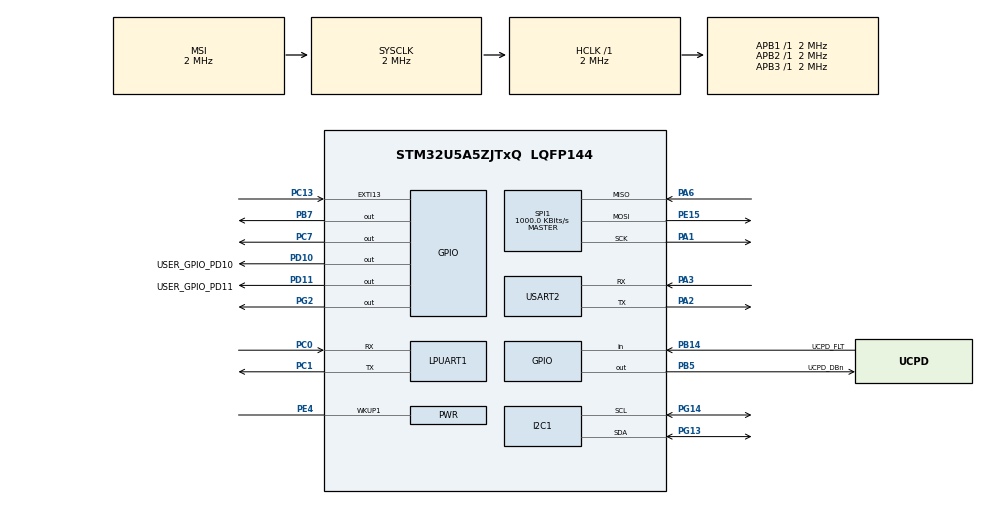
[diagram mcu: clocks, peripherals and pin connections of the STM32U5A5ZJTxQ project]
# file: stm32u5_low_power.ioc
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CORTEX_M33_NS.AccessPermission-Cortex_Memory_Protection_Unit_Region0_Settings=MPU_REGION_PRIV_RO
CORTEX_M33_NS.AllocateAttribute-Cortex_Memory_Protection_Unit_Region0_Settings=MPU_R_ALLOCATE
CORTEX_M33_NS.AllocateAttribute-Cortex_Memory_Protection_Unit_Region1_Settings=MPU_RW_ALLOCATE
CORTEX_M33_NS.AttributesIndex-Cortex_Memory_Protection_Unit_Region1_Settings=MPU_ATTRIBUTES_NUMBER1
CORTEX_M33_NS.BaseAddress-Cortex_Memory_Protection_Unit_Region0_Settings=0x08000000
CORTEX_M33_NS.BaseAddress-Cortex_Memory_Protection_Unit_Region1_Settings=0x20000000
CORTEX_M33_NS.CacheableAttribute-Cortex_Memory_Protection_Unit_Region1_Settings=MPU_WRITE_BACK
CORTEX_M33_NS.Enable-Cortex_Memory_Protection_Unit_Region0_Settings=MPU_REGION_ENABLE
CORTEX_M33_NS.Enable-Cortex_Memory_Protection_Unit_Region1_Settings=MPU_REGION_ENABLE
CORTEX_M33_NS.LimitAddress-Cortex_Memory_Protection_Unit_Region0_Settings=0x083FFFFF
CORTEX_M33_NS.LimitAddress-Cortex_Memory_Protection_Unit_Region1_Settings=0x2026FFFF
CORTEX_M33_NS.MPU_Control=__NULL
CORTEX_M33_NS.Number-Cortex_Memory_Protection_Unit_Region1_Settings=MPU_REGION_NUMBER1
CORTEX_M33_NS.userName=CORTEX_M33
FLASH.B1_BLOCK_active=true
FLASH.B1_endPage=511
FLASH.OB_BOR_Level_active=true
FLASH.OB_Boot_Configuration_active_NS0=true
FLASH.OB_NRST_STOP_UI=OB_STOP_NOUPD
FLASH.OB_NSBOOTADD0_Address=0x08000000
FLASH.OB_User_Configuration_active=false
GTZC.MPCBB1_Area_Privilege=GTZC_MPCBB_REGION_NPRIV
GTZC.MPCBB1_Area_Privilege_Choice=from full Privileged
GTZC.MPCBB1_SecConfig_array=00000000\:00000000\:00000000\:00000000\:00000000\:00000000\:00000000\:00000000\:00000000\:00000000\:00000000\:00000000\:00000000\:00000000\:00000000\:00000000\:00000000\:00000000\:00000000\:00000000\:00000000\:00000000\:00000000\:00000000\:00000000\:00000000\:00000000\:00000000\:00000000\:00000000\:00000000\:00000000\:00000000\:00000000\:00000000\:00000000\:00000000\:00000000\:00000000\:00000000\:00000000\:00000000\:00000000\:00000000\:00000000\:00000000\:00000000\:00000000
GTZC.MPCBB2_Area2_Privilege_Start_Address=0x200C0000
GTZC.MPCBB2_Area_Privilege=GTZC_MPCBB_REGION_NPRIV
GTZC.MPCBB2_Area_Privilege_Choice=from full Privileged
GTZC.MPCBB2_Area_Privilege_Start_Address=0x200C0000
GTZC.MPCBB2_SecConfig_array=00000000\:00000000\:00000000\:00000000\:00000000\:00000000\:00000000\:00000000\:00000000\:00000000\:00000000\:00000000\:00000000\:00000000\:00000000\:00000000\:00000000\:00000000\:00000000\:00000000\:00000000\:00000000\:00000000\:00000000\:00000000\:00000000\:00000000\:00000000\:00000000\:00000000\:00000000\:00000000\:00000000\:00000000\:00000000\:00000000\:00000000\:00000000\:00000000\:00000000\:00000000\:00000000\:00000000\:00000000\:00000000\:00000000\:00000000\:00000000\:00000000\:00000000\:00000000\:00000000
GTZC.MPCBB3_Area2_Privilege_Start_Address=0x200D0000
GTZC.MPCBB3_Area_Privilege=GTZC_MPCBB_REGION_NPRIV
GTZC.MPCBB3_Area_Privilege_Choice=from full Privileged
GTZC.MPCBB3_Area_Privilege_Start_Address=0x200D0000
GTZC.MPCBB3_SecConfig_array=00000000\:00000000\:00000000\:00000000\:00000000\:00000000\:00000000\:00000000\:00000000\:00000000\:00000000\:00000000\:00000000\:00000000\:00000000\:00000000\:00000000\:00000000\:00000000\:00000000\:00000000\:00000000\:00000000\:00000000\:00000000\:00000000\:00000000\:00000000\:00000000\:00000000\:00000000\:00000000\:00000000\:00000000\:00000000\:00000000\:00000000\:00000000\:00000000\:00000000\:00000000\:00000000\:00000000\:00000000\:00000000\:00000000\:00000000\:00000000\:00000000\:00000000\:00000000\:00000000
GTZC.MPCBB4_PrivConfig_array=00000000
GTZC.MPCBB4_SecConfig_array=00000000
GTZC.MPCBB5_Area2_Privilege_Start_Address=0x201A0000
GTZC.MPCBB5_Area_Privilege=GTZC_MPCBB_REGION_NPRIV
GTZC.MPCBB5_Area_Privilege_Choice=from full Privileged
GTZC.MPCBB5_Area_Privilege_Start_Address=0x201A0000
GTZC.MPCBB5_SecConfig_array=00000000\:00000000\:00000000\:00000000\:00000000\:00000000\:00000000\:00000000\:00000000\:00000000\:00000000\:00000000\:00000000\:00000000\:00000000\:00000000\:00000000\:00000000\:00000000\:00000000\:00000000\:00000000\:00000000\:00000000\:00000000\:00000000\:00000000\:00000000\:00000000\:00000000\:00000000\:00000000\:00000000\:00000000\:00000000\:00000000\:00000000\:00000000\:00000000\:00000000\:00000000\:00000000\:00000000\:00000000\:00000000\:00000000\:00000000\:00000000\:00000000\:00000000\:00000000\:00000000
HASH.SecureHashAlgorithmType=SHA256
HASH.pKey=__NULL
I2C1.Timing=0x00000509
LPTIM2.ClockPrescaler=LPTIM_PRESCALER_DIV1
LPTIM2.UpdateMode=LPTIM_UPDATE_ENDOFPERIOD
LPTIM3.ClockPrescaler=LPTIM_PRESCALER_DIV4
Mcu.Family=STM32U5
Mcu.Name=STM32U5A5ZJTxQ
Mcu.Package=LQFP144
NUCLEO-U5A5ZJ-Q.BUTTON=1
NUCLEO-U5A5ZJ-Q.Bsp_Common_DEMO=true
NUCLEO-U5A5ZJ-Q.LD1=true
NUCLEO-U5A5ZJ-Q.LD2=true
NUCLEO-U5A5ZJ-Q.LD3=true
NUCLEO-U5A5ZJ-Q.VCP=true
NVIC.AES_IRQn=true\:0\:0\:false\:false\:true\:true\:true\:true
NVIC.CORDIC_IRQn=true\:0\:0\:false\:false\:true\:true\:true\:true
NVIC.FMAC_IRQn=true\:0\:0\:false\:false\:true\:true\:true\:true
NVIC.FPU_IRQn=true\:0\:0\:false\:false\:true\:true\:false\:true
NVIC.HASH_IRQn=true\:0\:0\:false\:false\:true\:true\:true\:true
NVIC.I2C1_ER_IRQn=true\:0\:0\:false\:false\:true\:true\:true\:true
NVIC.I2C1_EV_IRQn=true\:0\:0\:false\:false\:true\:true\:true\:true
NVIC.LPTIM2_IRQn=true\:0\:0\:false\:false\:true\:true\:true\:true
NVIC.LPTIM3_IRQn=true\:0\:0\:false\:false\:true\:true\:true\:true
NVIC.LPUART1_IRQn=true\:0\:0\:false\:false\:true\:true\:true\:true
NVIC.OTFDEC1_IRQn=true\:0\:0\:false\:false\:true\:true\:true\:true
NVIC.OTFDEC2_IRQn=true\:0\:0\:false\:false\:true\:true\:true\:true
NVIC.PKA_IRQn=true\:0\:0\:false\:false\:true\:true\:true\:true
NVIC.PWR_S3WU_IRQn=true\:0\:0\:false\:false\:true\:true\:true\:true
NVIC.PriorityGroup=NVIC_PRIORITYGROUP_4
NVIC.RCC_IRQn=true\:0\:0\:false\:false\:true\:true\:false\:true
NVIC.RNG_IRQn=true\:0\:0\:false\:false\:true\:true\:true\:true
NVIC.SPI1_IRQn=true\:0\:0\:false\:false\:true\:true\:true\:true
NVIC.TIM4_IRQn=true\:15\:0\:false\:false\:true\:false\:true\:true
NVIC.TimeBase=TIM4_IRQn
NVIC.TimeBaseIP=TIM4
NVIC.USART2_IRQn=true\:0\:0\:false\:false\:true\:true\:true\:true
PA1.Mode=Full_Duplex_Master
PA1.Signal=SPI1_SCK
PA10.Signal=USART1_RX
PA11.Signal=USB_OTG_HS_DM
PA12.Signal=USB_OTG_HS_DP
PA13\ (JTMS/SWDIO).Mode=Trace_Asynchronous_SW
PA13\ (JTMS/SWDIO).Signal=DEBUG_JTMS-SWDIO
PA14\ (JTCK/SWCLK).Mode=Trace_Asynchronous_SW
PA14\ (JTCK/SWCLK).Signal=DEBUG_JTCK-SWCLK
PA15\ (JTDI).Signal=UCPD1_CC1
PA2.Mode=Asynchronous
PA2.Signal=USART2_TX
PA3.Mode=Asynchronous
PA3.Signal=USART2_RX
PA6.Mode=Full_Duplex_Master
PA6.Signal=SPI1_MISO
PA9.Signal=USART1_TX
PB14.GPIO_Label=UCPD_FLT
PB14.Signal=GPIO_Input
PB15.Signal=UCPD1_CC2
PB3\ (JTDO/TRACESWO).Mode=Trace_Asynchronous_SW
PB3\ (JTDO/TRACESWO).Signal=DEBUG_JTDO-SWO
PB5.GPIO_Label=UCPD_DBn
PB5.Signal=GPIO_Output
PB7.Signal=GPIO_Output
PC0.Mode=Asynchronous
PC0.Signal=LPUART1_RX
PC1.Mode=Asynchronous
PC1.Signal=LPUART1_TX
PC13.Signal=GPXTI13
PC14-OSC32_IN\ (PC14).Mode=LSE-External-Oscillator
PC14-OSC32_IN\ (PC14).Signal=RCC_OSC32_IN
PC15-OSC32_OUT\ (PC15).Mode=LSE-External-Oscillator
PC15-OSC32_OUT\ (PC15).Signal=RCC_OSC32_OUT
PC2.GPIO_Label=VBUS_SENSE
PC2.Signal=ADC1_IN3
PC7.Signal=GPIO_Output
PD10.GPIO_Label=USER_GPIO_PD10
PD10.Signal=GPIO_Output
PD11.GPIO_Label=USER_GPIO_PD11
PD11.Signal=GPIO_Output
PE15.Mode=Full_Duplex_Master
PE15.Signal=SPI1_MOSI
PE4.Mode=WakeUp1
PE4.Signal=PWR_WKUP1
PG13.Mode=I2C
PG13.Signal=I2C1_SDA
PG14.Mode=I2C
PG14.Signal=I2C1_SCL
PG2.Signal=GPIO_Output
PH0-OSC_IN\ (PH0).Mode=HSE-External-Oscillator
PH0-OSC_IN\ (PH0).Signal=RCC_OSC_IN
PH1-OSC_OUT\ (PH1).Mode=HSE-External-Oscillator
PH1-OSC_OUT\ (PH1).Signal=RCC_OSC_OUT
PWR.PowerMode=PWR_SMPS_SUPPLY
ProjectManager.HeapSize=0x200
ProjectManager.StackSize=0x400
ProjectManager.TargetToolchain=STM32CubeIDE
RCC.ADCFreq_Value=16000000
RCC.AHBFreq_Value=2000000
RCC.APB1Freq_Value=2000000
RCC.APB1TimFreq_Value=2000000
RCC.APB2Freq_Value=2000000
RCC.APB2TimFreq_Value=2000000
RCC.APB3Freq_Value=2000000
RCC.CortexFreq_Value=2000000
RCC.DACCLockSelectionVirtual=RCC_DAC1CLKSOURCE_LSI
RCC.EPOD_VALUE=8000000
RCC.HCLKFreq_Value=2000000
RCC.HSE_VALUE=8000000
RCC.HSI48_VALUE=48000000
RCC.HSI_VALUE=16000000
RCC.LPTIM2CLockSelectionVirtual=RCC_LPTIM2CLKSOURCE_HSI
RCC.LSIDIV_VALUE=32000
RCC.MSIAutoCalibration=DISABLED
RCC.MSIClockRange=RCC_MSIRANGE_5
RCC.MSI_VALUE=2000000
RCC.PLL1P=4
RCC.PLL3FRACN=0
RCC.PLLFRACN=0
RCC.PLLN=24
RCC.PLLSourceVirtual=RCC_PLLSOURCE_HSE
RCC.SYSCLKFreq_VALUE=2000000
RCC.USBPHYCLockSelection=RCC_USBPHYCLKSOURCE_PLL1_DIV2
RCC.VCOOutputFreq_Value=192000000
RTC.Month=RTC_MONTH_JANUARY
RTC.WeekDay=RTC_WEEKDAY_WEDNESDAY
RTC.Year=25
SPI1.CLKPhase=SPI_PHASE_2EDGE
SPI1.CalculateBaudRate=1000.0 KBits/s
SPI1.DataSize=SPI_DATASIZE_8BIT
SPI1.Direction=SPI_DIRECTION_2LINES
SPI1.Mode=SPI_MODE_MASTER
SPI1.VirtualType=VM_MASTER
USART2.VirtualMode-Asynchronous=VM_ASYNC
VP_AES_VS_AES.Mode=AES_Activate
VP_CORDIC_VS_CORDIC.Mode=CORDIC_Activate
VP_CRC_VS_CRC.Mode=CRC_Activate
VP_DCACHE1_VS_DCACHE.Mode=DCACHE_Activate
VP_FLASH_SIG_Activate_FlashIP.Mode=Activate_FlashIP
VP_FMAC_VS_FMAC.Mode=FMAC_Activate
VP_GTZC_VS_GTZC_Enable.Mode=GTZC_Enable
VP_HASH_VS_HASH.Mode=HASH_Activate
VP_ICACHE_VS_ICACHE.Mode=DirectMappedCache
VP_LPBAMQUEUE_VS_QUEUE.Mode=QUEUEMODE
VP_LPBAM_VS_SIG1.Mode=SmartRun
VP_LPBAM_VS_SIG4.Mode=LPDMA1
VP_LPTIM2_VS_LPTIM_counterModeInternalClock.Mode=Counts__internal_clock_event_00
VP_LPTIM3_VS_LPTIM_counterModeInternalClock.Mode=Counts__internal_clock_event_00
VP_MEMORYMAP_VS_MEMORYMAP.Mode=CurAppReg
VP_NUCLEO-U5A5ZJ-Q_VS_BSP_COMMON.Mode=COMMON
VP_OTFDEC1_VS_OTFDEC.Mode=OTFDEC_Activate
VP_OTFDEC2_VS_OTFDEC.Mode=OTFDEC_Activate
VP_PKA_VS_PKA.Mode=PKA_Activate
VP_PWR_VS_DBSignals.Mode=DisableDeadBatterySignals
VP_PWR_VS_LPOM.Mode=PowerOptimisation
VP_PWR_VS_SECSignals.Mode=Security/Privilege
VP_RNG_VS_RNG.Mode=RNG_Activate
VP_RTC_VS_RTC_Activate.Mode=RTC_Enabled
VP_RTC_VS_RTC_Calendar.Mode=RTC_Calendar
VP_SAES_VS_SAES.Mode=SAES_Activate
VP_SYS_VS_tim4.Mode=TIM4
board=NUCLEO-U5A5ZJ-Q
wolfSSL.I-CUBE-wolfSSL.5.7.6.WOLF_CONF_AESGCM=0
wolfSSL.I-CUBE-wolfSSL.5.7.6.WOLF_CONF_CHAPOLY=0
wolfSSL.I-CUBE-wolfSSL.5.7.6.WOLF_CONF_DEBUG=1
wolfSSL.I-CUBE-wolfSSL.5.7.6.WOLF_CONF_ECC=0
wolfSSL.I-CUBE-wolfSSL.5.7.6.WOLF_CONF_MATH=1
wolfSSL.I-CUBE-wolfSSL.5.7.6.WOLF_CONF_OPENSSL_EXTRA=1
wolfSSL.I-CUBE-wolfSSL.5.7.6.WOLF_CONF_TLS12=0
wolfSSL.I-CUBE-wolfSSL.5.7.6.WOLF_CONF_TLS13=0
wolfSSL.I-CUBE-wolfSSL.5.7.6.WOLF_CONF_WOLFCRYPT_ONLY=1

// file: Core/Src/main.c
/* USER CODE BEGIN Header */
/**
  ******************************************************************************
  * @file           : main.c
  * @brief          : Main program body
  ******************************************************************************
  * @attention
  *
  * Copyright (c) 2025 STMicroelectronics.
  * All rights reserved.
  *
  * This software is licensed under terms that can be found in the LICENSE file
  * in the root directory of this software component.
  * If no LICENSE file comes with this software, it is provided AS-IS.
  *
  ******************************************************************************
  */
/* USER CODE END Header */
#include "main.h"
#include "aes.h"
#include "cordic.h"
#include "crc.h"
#include "dcache.h"
#include "flash.h"
#include "fmac.h"
#include "gtzc.h"
#include "hash.h"
#include "i2c.h"
#include "icache.h"
#include "lptim.h"
#include "usart.h"
#include "memorymap.h"
#include "otfdec.h"
#include "pka.h"
#include "rng.h"
#include "rtc.h"
#include "spi.h"
#include "gpio.h"

/* USER CODE BEGIN Includes */
#include "stm32u5xx_it.h"
#include <stdint.h>
#include <string.h>
/* USER CODE END Includes */

/* USER CODE BEGIN PD */
#define TICKS_PER_ITERATION_MS		10U
#define RNG_TIMEOUT					100U
#define UART_TX_SIZE				16U

#define RSA_MODULUS_SIZE 			128U
#define RSA_INPUT_SIZE   			128U
#define RSA_EXPONENT_SIZE 			3U

#define ENCRYPTION_TYPE_NONE		(uint8_t)0U
#define ENCRYPTION_TYPE_AES			(uint8_t)1U
#define ENCRYPTION_TYPE_RSA			(uint8_t)2U

/* USER CODE END PD */

COM_InitTypeDef BspCOMInit;
__IO uint32_t BspButtonState = BUTTON_RELEASED;

void SystemClock_Config(void);
static void SystemPower_Config(void);
/* USER CODE BEGIN PFP */
HAL_StatusTypeDef rsa_encrypt(const uint8_t *message, uint32_t message_size, const uint8_t *modulus, uint32_t modulus_size, const uint8_t *exponent, uint32_t exponent_size, uint8_t *output);
void aes_generate_and_store_key();
void hal_callback_lptim2_update_event(LPTIM_HandleTypeDef *hlptim);
void hal_callback_lpuart_tx_complete(UART_HandleTypeDef *huart);
void hal_callback_rng_random_number_ready(RNG_HandleTypeDef *hrng, uint32_t random32bit);
/* USER CODE END PFP */

/* USER CODE BEGIN 0 */

uint32_t lptim2_count;
uint8_t  randon_number_generated = 0U;
uint32_t random_uint32 = 0U;
uint8_t  rng_timeout = 0U;
uint32_t rng_timeout_start = 0U;

uint32_t data[4] = { 0x00000001, 0x00000003, 0x00000005, 0x00000007 };
uint32_t output[4] = { 0x00000000, 0x00000000, 0x00000000, 0x00000000 };
uint32_t decryp_result[4] = { 0x00000000, 0x00000000, 0x00000000, 0x00000000 };

/* USER CODE END 0 */

int main(void)
{

  /* USER CODE BEGIN 1 */
	static uint32_t tick_count_ms;

  /* USER CODE END 1 */

  /* MCU Configuration--------------------------------------------------------*/

  /* Reset of all peripherals, Initializes the Flash interface and the Systick. */
  HAL_Init();

  /* Configure the System Power */
  SystemPower_Config();

  /* Configure the system clock */
  SystemClock_Config();
  /* GTZC initialisation */
  MX_GTZC_Init();

  /* Initialize all configured peripherals */
  MX_GPIO_Init();
  MX_DCACHE1_Init();
  MX_FLASH_Init();
  MX_ICACHE_Init();
//  MX_AES_Init();
//  MX_SAES_AES_Init();
  MX_CORDIC_Init();
  MX_CRC_Init();
  MX_FMAC_Init();
  MX_HASH_Init();
  MX_I2C1_Init();
  MX_LPTIM2_Init();
  MX_LPTIM3_Init();
  MX_LPUART1_UART_Init();
  MX_USART2_UART_Init();
  MX_RNG_Init();
  MX_PKA_Init();
  MX_RTC_Init();
  MX_SPI1_Init();
  MX_OTFDEC1_Init();
  MX_OTFDEC2_Init();

  /* Initialize leds */
//  BSP_LED_Init(LED_GREEN);
//  BSP_LED_Init(LED_BLUE);
//  BSP_LED_Init(LED_RED);

  /* Initialize USER push-button, will be used to trigger an interrupt each time it's pressed.*/
//  BSP_PB_Init(BUTTON_USER, BUTTON_MODE_EXTI);

  /* Initialize COM1 port (115200, 8 bits (7-bit data + 1 stop bit), no parity */
//  BspCOMInit.BaudRate   = 115200;
//  BspCOMInit.WordLength = COM_WORDLENGTH_8B;
//  BspCOMInit.StopBits   = COM_STOPBITS_1;
//  BspCOMInit.Parity     = COM_PARITY_NONE;
//  BspCOMInit.HwFlowCtl  = COM_HWCONTROL_NONE;
//  if (BSP_COM_Init(COM1, &BspCOMInit) != BSP_ERROR_NONE)
//  {
//	  Error_Handler();
//  }

  /* Infinite loop */
  /* USER CODE BEGIN WHILE */

  uint8_t encryption_type = ENCRYPTION_TYPE_AES;
  uint8_t send_uart = 1U;

  HAL_UART_RegisterCallback(&hlpuart1, HAL_UART_TX_COMPLETE_CB_ID, hal_callback_lpuart_tx_complete);
  HAL_LPTIM_RegisterCallback(&hlptim2, HAL_LPTIM_UPDATE_EVENT_CB_ID, hal_callback_lptim2_update_event);
  HAL_LPTIM_Counter_Start_IT(&hlptim2);
  HAL_RNG_RegisterReadyDataCallback(&hrng, hal_callback_rng_random_number_ready);

  uint8_t modulus[128] = {
		  0xa1, 0xe4, 0x69, 0x71, 0x22, 0x5d, 0x23, 0xa4, 0xcc, 0x94, 0x42, 0xb2, 0xda, 0x59,
		  0xa0, 0xac, 0x3d, 0x76, 0x10, 0x47, 0xdc, 0xa3, 0x1f, 0x02, 0xf8, 0xc0, 0x2a, 0x9d, 0xd9,
		  0x9c, 0xe4, 0xa2, 0x41, 0x26, 0xa5, 0x2c, 0x3e, 0xff, 0x5b, 0xef, 0x33, 0x11, 0xbd, 0xdc,
		  0x5c, 0x2a, 0xf4, 0xf4, 0xd2, 0xb4, 0x0d, 0x7f, 0x02, 0x7f, 0xd0, 0xa1, 0x49, 0x50, 0x15,
		  0xfd, 0x94, 0x19, 0x7e, 0x13, 0x9b, 0xbe, 0xb2, 0xf4, 0x33, 0x51, 0x7e, 0xbe, 0x53, 0x0c,
		  0x5b, 0x1e, 0x3f, 0x1e, 0xee, 0x2c, 0x07, 0xf3, 0x75, 0x9f, 0x18, 0xc8, 0xf9, 0xbc, 0x86,
		  0x8d, 0xb2, 0xb3, 0xdc, 0x2c, 0x84, 0xd3, 0x12, 0x87, 0xfc, 0x13, 0x9b, 0x09, 0x95, 0x8a,
		  0xa9, 0xd2, 0x18, 0xeb, 0xc7, 0xf4, 0xf7, 0xdf, 0x47, 0xbf, 0xe8, 0xb1, 0xd6, 0x6a, 0x24,
		  0xfe, 0x2c, 0xe0, 0x4f, 0xeb, 0xd6, 0x65, 0x83, 0x79 };

  uint8_t message[128] = {
		  0x00, 0x01, 0x02, 0x03, 0x04, 0x05, 0x06, 0x07, 0x08, 0x09, 0x0A, 0x0B, 0x0C, 0x0D, 0x0E,
		  0x00, 0x01, 0x02, 0x03, 0x04, 0x05, 0x06, 0x07, 0x08, 0x09, 0x0A, 0x0B, 0x0C, 0x0D, 0x0E,
		  0x00, 0x01, 0x02, 0x03, 0x04, 0x05, 0x06, 0x07, 0x08, 0x09, 0x0A, 0x0B, 0x0C, 0x0D, 0x0E,
		  0x00, 0x01, 0x02, 0x03, 0x04, 0x05, 0x06, 0x07, 0x08, 0x09, 0x0A, 0x0B, 0x0C, 0x0D, 0x0E,
		  0x00, 0x01, 0x02, 0x03, 0x04, 0x05, 0x06, 0x07, 0x08, 0x09, 0x0A, 0x0B, 0x0C, 0x0D, 0x0E,
		  0x00, 0x01, 0x02, 0x03, 0x04, 0x05, 0x06, 0x07, 0x08, 0x09, 0x0A, 0x0B, 0x0C, 0x0D, 0x0E,
		  0x00, 0x01, 0x02, 0x03, 0x04, 0x05, 0x06, 0x07, 0x08, 0x09, 0x0A, 0x0B, 0x0C, 0x0D, 0x0E,
		  0x00, 0x01, 0x02, 0x03, 0x04, 0x05, 0x06, 0x07, 0x08, 0x09, 0x0A, 0x0B, 0x0C, 0x0D, 0x0E,
		  0x00, 0x01, 0x02, 0x03, 0x04, 0x05, 0x06, 0x07 };

  uint8_t exponent[3] = {0x01, 0x00, 0x01 };
  uint8_t encrypted[128];
  uint8_t aes_key_to_send[128];
  uint32_t tmp[32];

  if (encryption_type == ENCRYPTION_TYPE_AES)
  {
	  aes_generate_and_store_key();

	  memset(&aes_key_to_send, '\0', sizeof(aes_key_to_send));
	  memset(&tmp, '\0', sizeof(tmp));

	  tmp[0] = hal_cryp_aes_get_word_of_key(0);
	  tmp[1] = hal_cryp_aes_get_word_of_key(1);
	  tmp[2] = hal_cryp_aes_get_word_of_key(2);
	  tmp[3] = hal_cryp_aes_get_word_of_key(3);

	  for (uint8_t i = 4U; i < 32; ++i) { tmp[i] = (uint32_t)0xFFFFFFFFU; }

	  memcpy(&aes_key_to_send, &tmp, sizeof(aes_key_to_send));

	  if (rsa_encrypt(aes_key_to_send, 128, modulus, 128, exponent, 3, encrypted) != HAL_OK)
	  {
	  	  Error_Handler();
	  }

	  MX_AES_Init();
	  HAL_UART_Transmit_IT(&hlpuart1, (const uint8_t*)encrypted, (uint16_t)RSA_INPUT_SIZE);
  }

  while (1)
  {
	if (lptim2_count - tick_count_ms > TICKS_PER_ITERATION_MS)
    {
		HAL_GPIO_TogglePin(GPIOC, GPIO_PIN_7);

		if (encryption_type == ENCRYPTION_TYPE_AES)
		{
			if (HAL_CRYP_Encrypt(&hcryp, (uint32_t*)message, (uint16_t)32, (uint32_t*)encrypted, HAL_MAX_DELAY) != HAL_OK)
			{

			}

			if (send_uart == 1U)
			{
				if (HAL_UART_Transmit_IT(&hlpuart1, (const uint8_t*)encrypted, (uint16_t)128) != HAL_OK)
				{

				}
			}

			if (HAL_CRYP_Decrypt(&hcryp, (uint32_t*)output, (uint16_t)4, (uint32_t*)decryp_result, HAL_MAX_DELAY) != HAL_OK)
			{

			}
		}
		else if (encryption_type == ENCRYPTION_TYPE_RSA)
		{
			if (rsa_encrypt(message, 128, modulus, 128, exponent, 3, encrypted) != HAL_OK)
			{

			}
			if (send_uart == 1U)
			{
				if (HAL_UART_Transmit_IT(&hlpuart1, (const uint8_t*)encrypted, (uint16_t)RSA_INPUT_SIZE) != HAL_OK)
				{

				}
			}
		}
		else
		{
			if (send_uart == 1U)
			{
				if (HAL_UART_Transmit_IT(&hlpuart1, (const uint8_t*)output, (uint16_t)UART_TX_SIZE) != HAL_OK)
				{

				}
			}
		}

		tick_count_ms = lptim2_count;
    }
    /* USER CODE END WHILE */

  }
}

void SystemClock_Config(void)
{
  RCC_OscInitTypeDef RCC_OscInitStruct = {0};
  RCC_ClkInitTypeDef RCC_ClkInitStruct = {0};

  /** Configure the main internal regulator output voltage
  */
  if (HAL_PWREx_ControlVoltageScaling(PWR_REGULATOR_VOLTAGE_SCALE3) != HAL_OK)
  {
    Error_Handler();
  }

  /** Initializes the CPU, AHB and APB buses clocks
  */
  RCC_OscInitStruct.OscillatorType = RCC_OSCILLATORTYPE_HSI48|RCC_OSCILLATORTYPE_HSI
                              |RCC_OSCILLATORTYPE_LSI|RCC_OSCILLATORTYPE_MSI
                              |RCC_OSCILLATORTYPE_MSIK|RCC_OSCILLATORTYPE_SHSI;
  RCC_OscInitStruct.HSIState = RCC_HSI_ON;
  RCC_OscInitStruct.HSI48State = RCC_HSI48_ON;
  RCC_OscInitStruct.HSICalibrationValue = RCC_HSICALIBRATION_DEFAULT;
  RCC_OscInitStruct.LSIState = RCC_LSI_ON;
  RCC_OscInitStruct.MSIState = RCC_MSI_ON;
  RCC_OscInitStruct.MSICalibrationValue = RCC_MSICALIBRATION_DEFAULT;
  RCC_OscInitStruct.MSIClockRange = RCC_MSIRANGE_5;
  RCC_OscInitStruct.LSIDiv = RCC_LSI_DIV1;
  RCC_OscInitStruct.MSIKClockRange = RCC_MSIKRANGE_4;
  RCC_OscInitStruct.SHSIState = RCC_SHSI_ON;
  RCC_OscInitStruct.MSIKState = RCC_MSIK_ON;
  RCC_OscInitStruct.PLL.PLLState = RCC_PLL_NONE;
  if (HAL_RCC_OscConfig(&RCC_OscInitStruct) != HAL_OK)
  {
    Error_Handler();
  }

  /** Initializes the CPU, AHB and APB buses clocks
  */
  RCC_ClkInitStruct.ClockType = RCC_CLOCKTYPE_HCLK|RCC_CLOCKTYPE_SYSCLK
                              |RCC_CLOCKTYPE_PCLK1|RCC_CLOCKTYPE_PCLK2
                              |RCC_CLOCKTYPE_PCLK3;
  RCC_ClkInitStruct.SYSCLKSource = RCC_SYSCLKSOURCE_MSI;
  RCC_ClkInitStruct.AHBCLKDivider = RCC_SYSCLK_DIV1;
  RCC_ClkInitStruct.APB1CLKDivider = RCC_HCLK_DIV1;
  RCC_ClkInitStruct.APB2CLKDivider = RCC_HCLK_DIV1;
  RCC_ClkInitStruct.APB3CLKDivider = RCC_HCLK_DIV1;

  if (HAL_RCC_ClockConfig(&RCC_ClkInitStruct, FLASH_LATENCY_0) != HAL_OK)
  {
    Error_Handler();
  }

  /** Enable the force of MSIK in stop mode
  */
  __HAL_RCC_MSIKSTOP_ENABLE();

  /** Enable the force of HSI in stop mode
  */
  __HAL_RCC_HSISTOP_ENABLE();
}

/**
  * @brief Power Configuration
  * @retval None
  */
static void SystemPower_Config(void)
{
  HAL_PWREx_EnableVddIO2();

  /*
   * Disable the internal Pull-Up in Dead Battery pins of UCPD peripheral
   */
  HAL_PWREx_DisableUCPDDeadBattery();

  /*
   * Switch to SMPS regulator instead of LDO
   */
  if (HAL_PWREx_ConfigSupply(PWR_SMPS_SUPPLY) != HAL_OK)
  {
    Error_Handler();
  }
  /* PWR_S3WU_IRQn interrupt configuration */
  HAL_NVIC_SetPriority(PWR_S3WU_IRQn, 0, 0);
  HAL_NVIC_EnableIRQ(PWR_S3WU_IRQn);
}

/* USER CODE BEGIN 4 */
void hal_callback_lptim2_update_event(LPTIM_HandleTypeDef *hlptim)
{
	if (lptim2_count > 10000000U)
	{
		lptim2_count = 0U;
	}
	else
	{
		++lptim2_count;
	}
}

void hal_callback_lpuart_tx_complete(UART_HandleTypeDef *huart)
{

}

void hal_callback_rng_random_number_ready(RNG_HandleTypeDef *hrng, uint32_t random32bit)
{
	random_uint32 = random32bit;
	randon_number_generated = 1U;
}

void aes_generate_and_store_key()
{
	// generate 4 random words and set AES key
	for (uint8_t word = 0U; word < 4U; ++word)
	{
		// generate 32 bit random number
		HAL_RNG_GenerateRandomNumber_IT(&hrng);
		rng_timeout_start = lptim2_count;

		while (randon_number_generated == 0U && !rng_timeout)
		{
			if (lptim2_count - rng_timeout_start > RNG_TIMEOUT)
			{
				rng_timeout = 1U;
			}
		}

		// set generated 32 bit random number at current index of AES key
		hal_cryp_aes_set_aes_key_word_at_index(random_uint32, word);

		rng_timeout = 0U;
		randon_number_generated = 0U;
	}
}

/* Perform RSA encryption using PKA */
HAL_StatusTypeDef rsa_encrypt(const uint8_t *message, uint32_t message_size, const uint8_t *modulus, uint32_t modulus_size, const uint8_t *exponent, uint32_t exponent_size, uint8_t *output)
{
    HAL_StatusTypeDef status;
    PKA_ModExpInTypeDef in;

    /* Set up input structure */
    in.expSize = exponent_size;
    in.OpSize = modulus_size;
    in.pExp = exponent;
    in.pOp1 = message;
    in.pMod = modulus;

    /* Perform modular exponentiation */
    status = HAL_PKA_ModExp(&hpka, &in, HAL_MAX_DELAY);
    if (status != HAL_OK)
    {
        return status;
    }

    /* Get the result */
    HAL_PKA_ModExp_GetResult(&hpka, (uint8_t *)output);

    return HAL_OK;
}

/* USER CODE END 4 */

void HAL_TIM_PeriodElapsedCallback(TIM_HandleTypeDef *htim)
{
  if (htim->Instance == TIM4) {
    HAL_IncTick();
  }
}

/**
  * @brief  BSP Push Button callback
  * @param  Button Specifies the pressed button
  * @retval None
  */
void BSP_PB_Callback(Button_TypeDef Button)
{
  if (Button == BUTTON_USER)
  {
    BspButtonState = BUTTON_PRESSED;
  }
}

void Error_Handler(void)
{
  __disable_irq();
  while (1)
  {
  }
}
